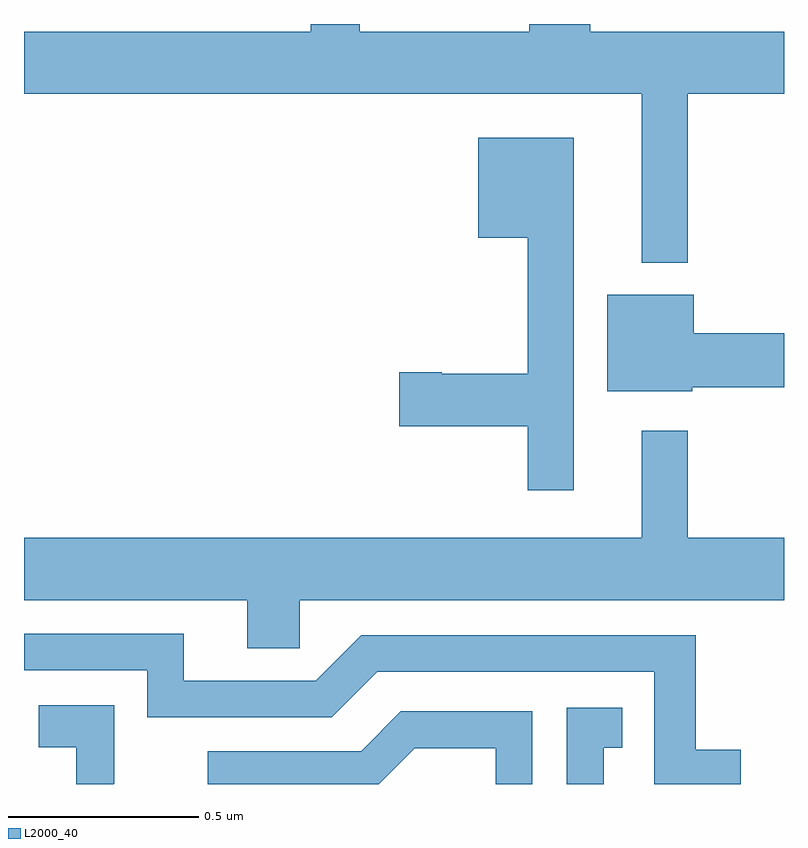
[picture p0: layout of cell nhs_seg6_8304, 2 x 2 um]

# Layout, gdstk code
import gdstk
lib = gdstk.Library(unit=1e-6, precision=1e-09)
def P(c, l, *ps):  # polygons
    for p in ps: c.add(gdstk.Polygon(p, *l))
L2000_40 = (2000, 40)

nhs_seg6_8304 = lib.new_cell('nhs_seg6_8304')
P(nhs_seg6_8304, L2000_40, [(220.747,967.316),(221,967.316),(221,967.48),(220.49,967.48),(220.49,967.5),(220.33,967.5),(220.33,967.48),(219.883,967.48),(219.883,967.5),(219.755,967.5),(219.755,967.48),(219,967.48),(219,967.316),(220.625,967.316),(220.625,966.872),(220.747,966.872)],
  [(220.447,967.201),(220.196,967.201),(220.196,966.938),(220.326,966.938),(220.326,966.579),(220.099,966.579),(220.099,966.584),(219.987,966.584),(219.987,966.442),(220.326,966.442),(220.326,966.273),(220.447,966.273)],
  [(220.758,966.544),(221,966.544),(221,966.686),(220.762,966.686),(220.762,966.787),(220.535,966.787),(220.535,966.533),(220.758,966.533)],
  [(219.726,965.984),(221,965.984),(221,966.148),(220.747,966.148),(220.747,966.43),(220.625,966.43),(220.625,966.148),(219,966.148),(219,965.984),(219.587,965.984),(219.587,965.857),(219.726,965.857)],
  [(220.886,965.59),(220.768,965.59),(220.768,965.892),(219.888,965.892),(219.768,965.772),(219.421,965.772),(219.421,965.895),(219,965.895),(219,965.799),(219.324,965.799),(219.324,965.676),(219.81,965.676),(219.93,965.796),(220.659,965.796),(220.659,965.5),(220.886,965.5)],
  [(219.236,965.501),(219.237,965.501),(219.237,965.707),(219.039,965.707),(219.039,965.597),(219.137,965.597),(219.137,965.5),(219.236,965.5)],
  [(220.525,965.595),(220.574,965.595),(220.574,965.701),(220.428,965.701),(220.428,965.5),(220.525,965.5)],
  [(220.028,965.594),(220.242,965.594),(220.242,965.5),(220.338,965.5),(220.338,965.691),(219.992,965.691),(219.887,965.586),(219.484,965.586),(219.484,965.5),(219.934,965.5)])

lib.write_gds('nhs_seg6_8304.gds')
